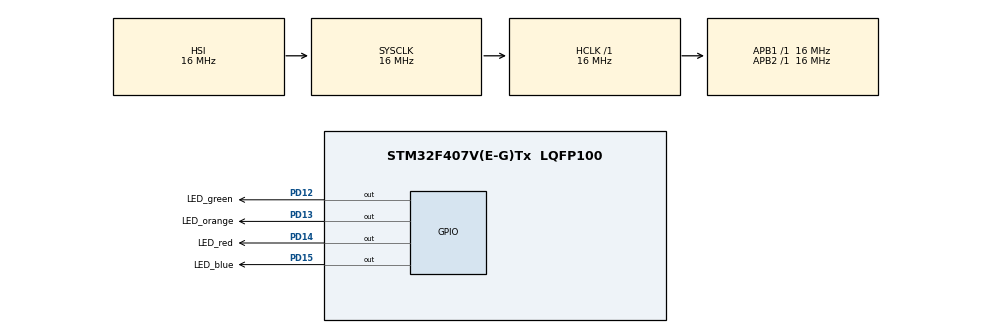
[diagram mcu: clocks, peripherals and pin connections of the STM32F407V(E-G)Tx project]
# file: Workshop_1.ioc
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Mcu.Family=STM32F4
Mcu.Name=STM32F407V(E-G)Tx
Mcu.Package=LQFP100
NVIC.PriorityGroup=NVIC_PRIORITYGROUP_4
PD12.GPIO_Label=LED_green
PD12.Signal=GPIO_Output
PD13.GPIO_Label=LED_orange
PD13.Signal=GPIO_Output
PD14.GPIO_Label=LED_red
PD14.Signal=GPIO_Output
PD15.GPIO_Label=LED_blue
PD15.Signal=GPIO_Output
ProjectManager.HeapSize=0x200
ProjectManager.StackSize=0x400
ProjectManager.TargetToolchain=STM32CubeIDE
RCC.AHBFreq_Value=16000000
RCC.APB1Freq_Value=16000000
RCC.APB2Freq_Value=16000000
RCC.CortexFreq_Value=16000000
RCC.HSE_VALUE=25000000
RCC.HSI_VALUE=16000000
RCC.LSE_VALUE=32768
RCC.SYSCLKFreq_VALUE=16000000
RCC.VCOOutputFreq_Value=192000000
board=custom

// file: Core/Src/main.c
/* USER CODE BEGIN Header */
/**
  ******************************************************************************
  * @file           : main.c
  * @brief          : Main program body
  ******************************************************************************
  * @attention
  *
  * <h2><center>&copy; Copyright (c) 2021 STMicroelectronics.
  * All rights reserved.</center></h2>
  *
  * This software component is licensed by ST under BSD 3-Clause license,
  * the "License"; You may not use this file except in compliance with the
  * License. You may obtain a copy of the License at:
  *                        opensource.org/licenses/BSD-3-Clause
  *
  ******************************************************************************
  */
/* USER CODE END Header */
#include "main.h"

/* USER CODE BEGIN Includes */
#include "stdint.h"
/* USER CODE END Includes */

void SystemClock_Config(void);
static void MX_GPIO_Init(void);

int main(void)
{

  /* MCU Configuration--------------------------------------------------------*/

  /* Reset of all peripherals, Initializes the Flash interface and the Systick. */
  HAL_Init();

  /* Configure the system clock */
  SystemClock_Config();

  /* Initialize all configured peripherals */
  MX_GPIO_Init();

  /* Infinite loop */
  /* USER CODE BEGIN WHILE */
  uint16_t LED_arr[4] = {LED_green_Pin, LED_orange_Pin,LED_red_Pin,LED_blue_Pin};
  uint16_t all_led_pins = LED_green_Pin|LED_orange_Pin|LED_red_Pin|LED_blue_Pin;
  GPIO_TypeDef * all_led_port = LED_blue_GPIO_Port;
  uint32_t current_pin_number = 0;
  while (1)
  {
	HAL_GPIO_WritePin(all_led_port, all_led_pins, GPIO_PIN_RESET);
	HAL_Delay(100);
	HAL_GPIO_WritePin(all_led_port, LED_arr[3], GPIO_PIN_SET);
	current_pin_number = 0;
	uint32_t step = 5;
	for (int32_t i = 200; i > 0; i-= step)
	{

		HAL_Delay(i);
		HAL_GPIO_TogglePin(all_led_port, LED_arr[current_pin_number]);
		if (current_pin_number == 0)
		{
			HAL_GPIO_TogglePin(all_led_port, LED_arr[3]);
		}
		else
		{
			HAL_GPIO_TogglePin(all_led_port, LED_arr[current_pin_number-1]);
		}
		current_pin_number++;
		if(current_pin_number == 4) current_pin_number = 0;
		if(i<50 && step != 1)step = 1;
	}
	HAL_Delay(5);
	HAL_GPIO_WritePin(all_led_port, all_led_pins, GPIO_PIN_SET);
	HAL_Delay(500);

    /* USER CODE END WHILE */

  }
}

void SystemClock_Config(void)
{
  RCC_OscInitTypeDef RCC_OscInitStruct = {0};
  RCC_ClkInitTypeDef RCC_ClkInitStruct = {0};

  /** Configure the main internal regulator output voltage
  */
  __HAL_RCC_PWR_CLK_ENABLE();
  __HAL_PWR_VOLTAGESCALING_CONFIG(PWR_REGULATOR_VOLTAGE_SCALE1);
  /** Initializes the RCC Oscillators according to the specified parameters
  * in the RCC_OscInitTypeDef structure.
  */
  RCC_OscInitStruct.OscillatorType = RCC_OSCILLATORTYPE_HSI;
  RCC_OscInitStruct.HSIState = RCC_HSI_ON;
  RCC_OscInitStruct.HSICalibrationValue = RCC_HSICALIBRATION_DEFAULT;
  RCC_OscInitStruct.PLL.PLLState = RCC_PLL_NONE;
  if (HAL_RCC_OscConfig(&RCC_OscInitStruct) != HAL_OK)
  {
    Error_Handler();
  }
  /** Initializes the CPU, AHB and APB buses clocks
  */
  RCC_ClkInitStruct.ClockType = RCC_CLOCKTYPE_HCLK|RCC_CLOCKTYPE_SYSCLK
                              |RCC_CLOCKTYPE_PCLK1|RCC_CLOCKTYPE_PCLK2;
  RCC_ClkInitStruct.SYSCLKSource = RCC_SYSCLKSOURCE_HSI;
  RCC_ClkInitStruct.AHBCLKDivider = RCC_SYSCLK_DIV1;
  RCC_ClkInitStruct.APB1CLKDivider = RCC_HCLK_DIV1;
  RCC_ClkInitStruct.APB2CLKDivider = RCC_HCLK_DIV1;

  if (HAL_RCC_ClockConfig(&RCC_ClkInitStruct, FLASH_LATENCY_0) != HAL_OK)
  {
    Error_Handler();
  }
}

static void MX_GPIO_Init(void)
{
  GPIO_InitTypeDef GPIO_InitStruct = {0};

  /* GPIO Ports Clock Enable */
  __HAL_RCC_GPIOD_CLK_ENABLE();

  /*Configure GPIO pin Output Level */
  HAL_GPIO_WritePin(GPIOD, LED_green_Pin|LED_orange_Pin|LED_red_Pin|LED_blue_Pin, GPIO_PIN_RESET);

  /*Configure GPIO pins : LED_green_Pin LED_orange_Pin LED_red_Pin LED_blue_Pin */
  GPIO_InitStruct.Pin = LED_green_Pin|LED_orange_Pin|LED_red_Pin|LED_blue_Pin;
  GPIO_InitStruct.Mode = GPIO_MODE_OUTPUT_PP;
  GPIO_InitStruct.Pull = GPIO_NOPULL;
  GPIO_InitStruct.Speed = GPIO_SPEED_FREQ_LOW;
  HAL_GPIO_Init(GPIOD, &GPIO_InitStruct);

}

void Error_Handler(void)
{
  __disable_irq();
  while (1)
  {
  }
}

/************************ (C) COPYRIGHT STMicroelectronics *****END OF FILE****/
